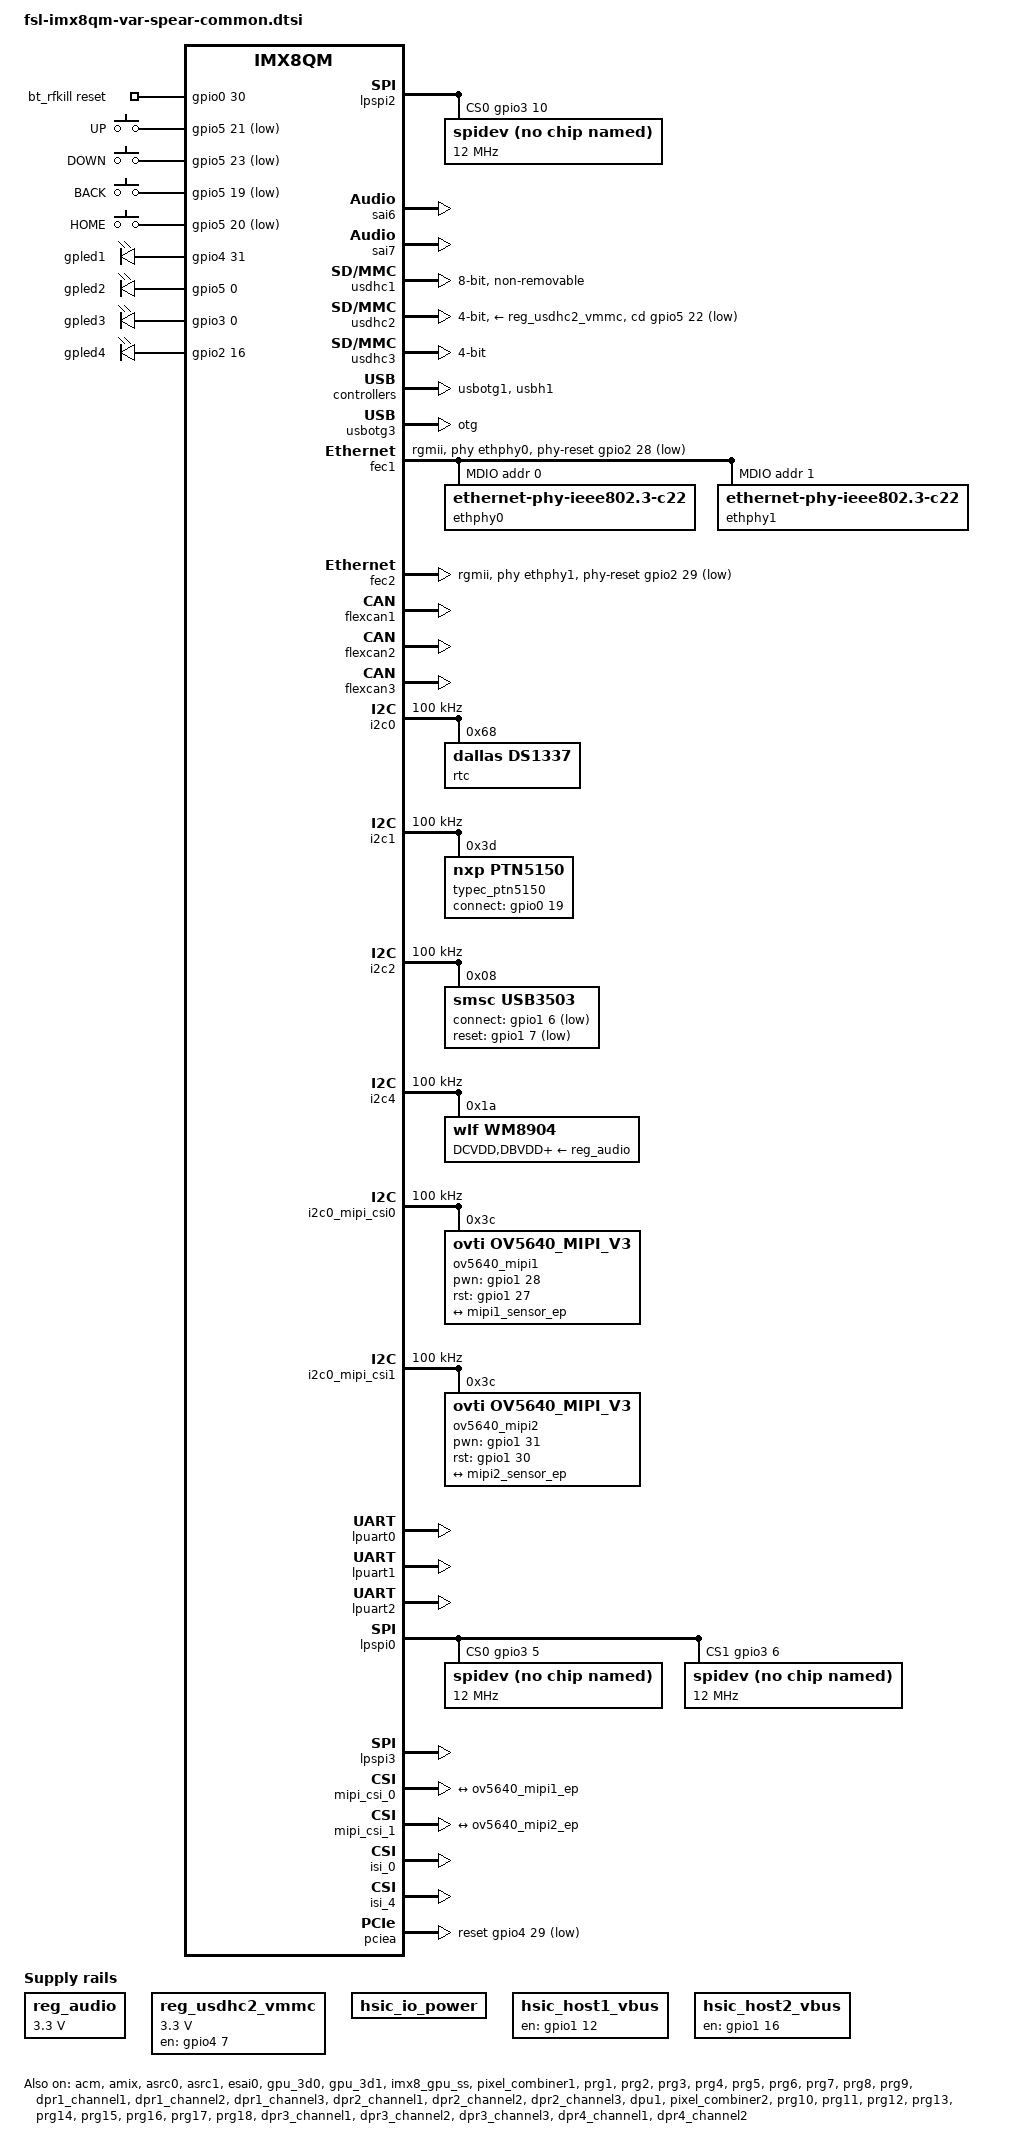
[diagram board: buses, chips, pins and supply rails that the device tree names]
/*
 * Copyright (C) 2016 Freescale Semiconductor, Inc.
 * Copyright 2017 NXP
 * Copyright 2019 Variscite Ltd.
 *
 * This program is free software; you can redistribute it and/or
 * modify it under the terms of the GNU General Public License
 * as published by the Free Software Foundation; either version 2
 * of the License, or (at your option) any later version.
 *
 * This program is distributed in the hope that it will be useful,
 * but WITHOUT ANY WARRANTY; without even the implied warranty of
 * MERCHANTABILITY or FITNESS FOR A PARTICULAR PURPOSE.  See the
 * GNU General Public License for more details.
 */

/dts-v1/;

#include "fsl-imx8qm.dtsi"

/ {
	firmware {
		android {
			compatible = "android,firmware";
			fstab {
				compatible = "android,fstab";
				vendor {
					compatible = "android,vendor";
					/* sd card node which used if androidboot.storage_type=sd */
					dev_sd = "/dev/block/platform/5b020000.usdhc/by-name/vendor";
					/* emmc node which used if androidboot.storage_type=emmc */
					dev_emmc = "/dev/block/platform/5b010000.usdhc/by-name/vendor";
					type = "ext4";
					mnt_flags = "ro,barrier=1,inode_readahead_blks=8";
					fsmgr_flags = "wait,slotselect,avb";
				};
			};
			vbmeta {
				/*we need use FirstStageMountVBootV2 if we enable avb*/
				compatible = "android,vbmeta";
				/*parts means the partition witch can be mount in first stage*/
				parts = "vbmeta,boot,system,vendor";
			};
		};
	};

	bt_rfkill {
		compatible = "net,rfkill-gpio";
		pinctrl-names = "default";
		pinctrl-0 = <&pinctrl_bt>;
		reset-gpios = <&gpio0 30 GPIO_ACTIVE_HIGH>;
		name = "bt_rfkill";
		type = "bluetooth";
		status = "okay";
	};

	reserved-memory {
		#address-cells = <2>;
		#size-cells = <2>;
		ranges;

		carveout_region: imx_ion@0 {
			compatible = "imx-ion-pool";
			reg = <0x0 0xf8000000 0 0x8000000>;
		};
	};
};

/ {
	compatible = "fsl,imx8qm-var-spear", "fsl,imx8qm";

	chosen {
		bootargs = "console=ttyLP0,115200 earlycon=lpuart32,0x5a060000,115200";
		stdout-path = &lpuart0;
	};

	aliases {
		gpio0 = &gpio0;
		gpio1 = &gpio1;
		gpio2 = &gpio2;
		gpio3 = &gpio3;
		gpio4 = &gpio4;
		gpio5 = &gpio5;
		gpio6 = &gpio6;
		gpio7 = &gpio7;
		i2c0  = &i2c0;
		i2c1  = &i2c1;
		i2c2  = &i2c2;
		i2c3  = &i2c3;
		i2c4  = &i2c4;
	};

	regulators: regulators {
		compatible = "simple-bus";
		#address-cells = <1>;
		#size-cells = <0>;

		reg_audio: audio {
			compatible = "regulator-fixed";
			regulator-name = "wm8904_supply";
			regulator-min-microvolt = <3300000>;
			regulator-max-microvolt = <3300000>;
			regulator-always-on;
		};

		reg_usdhc2_vmmc: usdhc2_vmmc {
			compatible = "regulator-fixed";
			regulator-name = "sw-3p3-sd1";
			regulator-min-microvolt = <3300000>;
			regulator-max-microvolt = <3300000>;
			gpio = <&gpio4 7 GPIO_ACTIVE_HIGH>;
			enable-active-high;
		};

		hsic_io_power: hsic_io_power {
			compatible = "regulator-fixed";
			regulator-name = "hsic_io_power";
			regulator-always-on;
		};

		hsic_host1_vbus: hsic_host1_vbus {
			compatible = "regulator-fixed";
			regulator-name = "hsic_host1_vbus";
			gpio = <&gpio1 12 GPIO_ACTIVE_HIGH>;
			enable-active-high;
			regulator-always-on;
		};

		hsic_host2_vbus: hsic_host2_vbus {
			compatible = "regulator-fixed";
			regulator-name = "hsic_host2_vbus";
			gpio = <&gpio1 16 GPIO_ACTIVE_HIGH>;
			enable-active-high;
			regulator-always-on;
		};
	};

	backlight_lvds0: backlight_lvds@0 {
		compatible = "pwm-backlight";
		pwms = <&lvds0_pwm 0 100000 0>;
		brightness-levels = < 0  1  2  3  4  5  6  7  8  9
				     10 11 12 13 14 15 16 17 18 19
				     20 21 22 23 24 25 26 27 28 29
				     30 31 32 33 34 35 36 37 38 39
				     40 41 42 43 44 45 46 47 48 49
				     50 51 52 53 54 55 56 57 58 59
				     60 61 62 63 64 65 66 67 68 69
				     70 71 72 73 74 75 76 77 78 79
				     80 81 82 83 84 85 86 87 88 89
				     90 91 92 93 94 95 96 97 98 99
				    100>;
		default-brightness-level = <80>;
		status = "disabled";
	};

	backlight_lvds1: backlight_lvds@1 {
		compatible = "pwm-backlight";
		pwms = <&lvds1_pwm 0 100000 0>;
		brightness-levels = < 0  1  2  3  4  5  6  7  8  9
				     10 11 12 13 14 15 16 17 18 19
				     20 21 22 23 24 25 26 27 28 29
				     30 31 32 33 34 35 36 37 38 39
				     40 41 42 43 44 45 46 47 48 49
				     50 51 52 53 54 55 56 57 58 59
				     60 61 62 63 64 65 66 67 68 69
				     70 71 72 73 74 75 76 77 78 79
				     80 81 82 83 84 85 86 87 88 89
				     90 91 92 93 94 95 96 97 98 99
				    100>;
		default-brightness-level = <80>;
		status = "disabled";
	};

	gpio-keys {
		compatible = "gpio-keys";
		pinctrl-names = "default";
		pinctrl-0 = <&pinctrl_gpio_keys>;

		up {
			label = "UP";
			gpios = <&gpio5 21 GPIO_ACTIVE_LOW>;
			linux,code = <KEY_UP>;
		};

		down {
			label = "DOWN";
			gpios = <&gpio5 23 GPIO_ACTIVE_LOW>;
			linux,code = <KEY_DOWN>;
		};

		back {
			label = "BACK";
			gpios = <&gpio5 19 GPIO_ACTIVE_LOW>;
			linux,code = <KEY_BACK>;
		};

		home {
			label = "HOME";
			gpios = <&gpio5 20 GPIO_ACTIVE_LOW>;
			linux,code = <KEY_HOME>;
		};
	};

	leds {
		compatible = "gpio-leds";
		pinctrl-names = "default";
		pinctrl-0 = <&pinctrl_gpio_leds>;

		gpled1 {
			label = "gpled1";
			gpios = <&gpio4 31 GPIO_ACTIVE_HIGH>;
			default-state = "on";
			linux,default-trigger = "heartbeat";
		};

		gpled2 {
			label = "gpled2";
			gpios = <&gpio5 0 GPIO_ACTIVE_HIGH>;
			default-state = "on";
			linux,default-trigger = "mmc0";
		};

		gpled3 {
			label = "gpled3";
			gpios = <&gpio3 0 GPIO_ACTIVE_HIGH>;
			default-state = "on";
			linux,default-trigger = "mmc1";
		};

		gpled4 {
			label = "gpled4";
			gpios = <&gpio2 16 GPIO_ACTIVE_HIGH>;
			default-state = "on";
			linux,default-trigger = "mmc1";
		};
	};

	sound-wm8904 {
		compatible = "fsl,imx-audio-wm8904";
		model = "imx-wm8904";
		audio-codec = <&wm8904>;
		audio-cpu = <&esai0>;
		audio-routing =
			"Headphone Jack", "HPOUTL",
			"Headphone Jack", "HPOUTR",
			"IN2L", "Line In Jack",
			"IN2R", "Line In Jack",
			"IN1L", "Mic Jack",
			"Playback", "CPU-Playback",
			"CPU-Capture", "Capture";
		status = "okay";
	};

	sound-amix-sai {
		compatible = "fsl,imx-audio-amix";
		model = "amix-audio-sai";
		dais = <&sai6>, <&sai7>;
		amix-controller = <&amix>;
	};

	lpspi2: lpspi@5a020000 {
		compatible = "fsl,imx7ulp-spi";
		reg = <0x0 0x5a020000 0x0 0x10000>;
		interrupts = <GIC_SPI 218 IRQ_TYPE_LEVEL_HIGH>;
		interrupt-parent = <&gic>;
		clocks = <&clk IMX8QM_SPI2_CLK>,
			 <&clk IMX8QM_SPI2_IPG_CLK>;
		clock-names = "per", "ipg";
		assigned-clocks = <&clk IMX8QM_SPI2_CLK>;
		assigned-clock-rates = <60000000>;
		power-domains = <&pd_dma0_chan5>;
		dma-names = "tx","rx";
		dmas = <&edma0 5 0 0>, <&edma0 4 0 1>;
		status = "disabled";
	};
};

&acm {
	status = "okay";
};

&amix {
	status = "okay";
};

&asrc0 {
	assigned-clocks = <&clk IMX8QM_AUD_PLL0_DIV>,
			<&clk IMX8QM_AUD_ACM_AUD_PLL_CLK0_DIV>,
			<&clk IMX8QM_AUD_ACM_AUD_REC_CLK0_DIV>;
	assigned-clock-rates = <786432000>, <49152000>, <24576000>;
	fsl,asrc-rate  = <48000>;
	status = "okay";
};

&asrc1 {
	assigned-clocks = <&clk IMX8QM_AUD_PLL0_DIV>,
			<&clk IMX8QM_AUD_ACM_AUD_PLL_CLK0_DIV>,
			<&clk IMX8QM_AUD_ACM_AUD_REC_CLK0_DIV>;
	assigned-clock-rates = <786432000>, <49152000>, <24576000>;
	fsl,asrc-rate = <48000>;
	status = "okay";
};

&esai0 {
	pinctrl-names = "default";
	pinctrl-0 = <&pinctrl_esai0>;
	assigned-clocks = <&clk IMX8QM_ACM_ESAI0_MCLK_SEL>,
			<&clk IMX8QM_AUD_PLL0_DIV>,
			<&clk IMX8QM_AUD_ACM_AUD_PLL_CLK0_DIV>,
			<&clk IMX8QM_AUD_ACM_AUD_REC_CLK0_DIV>,
			<&clk IMX8QM_AUD_ESAI_0_EXTAL_IPG>;
	assigned-clock-parents = <&clk IMX8QM_AUD_ACM_AUD_PLL_CLK0_CLK>;
	assigned-clock-rates = <0>, <786432000>, <49152000>, <24576000>, <49152000>;
	status = "okay";
};

&sai6 {
	assigned-clocks = <&clk IMX8QM_ACM_SAI6_MCLK_SEL>,
			<&clk IMX8QM_AUD_PLL1_DIV>,
			<&clk IMX8QM_AUD_ACM_AUD_PLL_CLK1_DIV>,
			<&clk IMX8QM_AUD_ACM_AUD_REC_CLK1_DIV>,
			<&clk IMX8QM_AUD_SAI_6_MCLK>;
	assigned-clock-parents = <&clk IMX8QM_AUD_ACM_AUD_PLL_CLK1_CLK>;
	assigned-clock-rates = <0>, <786432000>, <98304000>, <24576000>, <98304000>;
	fsl,sai-asynchronous;
	fsl,txm-rxs;
	status = "okay";
};

&sai7 {
	assigned-clocks = <&clk IMX8QM_ACM_SAI7_MCLK_SEL>,
			<&clk IMX8QM_AUD_PLL1_DIV>,
			<&clk IMX8QM_AUD_ACM_AUD_PLL_CLK1_DIV>,
			<&clk IMX8QM_AUD_ACM_AUD_REC_CLK1_DIV>,
			<&clk IMX8QM_AUD_SAI_7_MCLK>;
	assigned-clock-parents = <&clk IMX8QM_AUD_ACM_AUD_PLL_CLK1_CLK>;
	assigned-clock-rates = <0>, <786432000>, <98304000>, <24576000>, <98304000>;
	fsl,sai-asynchronous;
	fsl,txm-rxs;
	status = "okay";
};

&iomuxc {
	imx8qm_var_spear {

		pinctrl_esai0: esai0grp {
			fsl,pins = <
				SC_P_ESAI0_FSR_AUD_ESAI0_FSR			0xc600004c
				SC_P_ESAI0_FST_AUD_ESAI0_FST			0xc600004c
				SC_P_ESAI0_SCKR_AUD_ESAI0_SCKR			0xc600004c
				SC_P_ESAI0_SCKT_AUD_ESAI0_SCKT			0xc600004c
				SC_P_ESAI0_TX0_AUD_ESAI0_TX0			0xc600004c
				SC_P_ESAI0_TX5_RX0_AUD_ESAI0_TX5_RX0		0xc600004c
				SC_P_MCLK_OUT0_AUD_ESAI0_TX_HF_CLK		0xc600004c
			>;
		};

		pinctrl_fec1: fec1grp {
			fsl,pins = <
				SC_P_ENET0_MDC_CONN_ENET0_MDC			0x06000048
				SC_P_ENET0_MDIO_CONN_ENET0_MDIO			0x06000048
				SC_P_ENET0_RGMII_TX_CTL_CONN_ENET0_RGMII_TX_CTL	0x06000048
				SC_P_ENET0_RGMII_TXC_CONN_ENET0_RGMII_TXC	0x06000048
				SC_P_ENET0_RGMII_TXD0_CONN_ENET0_RGMII_TXD0	0x06000048
				SC_P_ENET0_RGMII_TXD1_CONN_ENET0_RGMII_TXD1	0x06000048
				SC_P_ENET0_RGMII_TXD2_CONN_ENET0_RGMII_TXD2	0x06000048
				SC_P_ENET0_RGMII_TXD3_CONN_ENET0_RGMII_TXD3	0x06000048
				SC_P_ENET0_RGMII_RXC_CONN_ENET0_RGMII_RXC	0x06000048
				SC_P_ENET0_RGMII_RX_CTL_CONN_ENET0_RGMII_RX_CTL	0x06000048
				SC_P_ENET0_RGMII_RXD0_CONN_ENET0_RGMII_RXD0	0x06000048
				SC_P_ENET0_RGMII_RXD1_CONN_ENET0_RGMII_RXD1	0x06000048
				SC_P_ENET0_RGMII_RXD2_CONN_ENET0_RGMII_RXD2	0x06000048
				SC_P_ENET0_RGMII_RXD3_CONN_ENET0_RGMII_RXD3	0x06000048
				SC_P_ESAI0_TX2_RX3_LSIO_GPIO2_IO28		0x06000048
			>;
		};

		pinctrl_fec2: fec2grp {
			fsl,pins = <
				SC_P_ENET1_RGMII_TX_CTL_CONN_ENET1_RGMII_TX_CTL	0x06000048
				SC_P_ENET1_RGMII_TXC_CONN_ENET1_RGMII_TXC	0x06000048
				SC_P_ENET1_RGMII_TXD0_CONN_ENET1_RGMII_TXD0	0x06000048
				SC_P_ENET1_RGMII_TXD1_CONN_ENET1_RGMII_TXD1	0x06000048
				SC_P_ENET1_RGMII_TXD2_CONN_ENET1_RGMII_TXD2	0x06000048
				SC_P_ENET1_RGMII_TXD3_CONN_ENET1_RGMII_TXD3	0x06000048
				SC_P_ENET1_RGMII_RXC_CONN_ENET1_RGMII_RXC	0x06000048
				SC_P_ENET1_RGMII_RX_CTL_CONN_ENET1_RGMII_RX_CTL	0x06000048
				SC_P_ENET1_RGMII_RXD0_CONN_ENET1_RGMII_RXD0	0x06000048
				SC_P_ENET1_RGMII_RXD1_CONN_ENET1_RGMII_RXD1	0x06000048
				SC_P_ENET1_RGMII_RXD2_CONN_ENET1_RGMII_RXD2	0x06000048
				SC_P_ENET1_RGMII_RXD3_CONN_ENET1_RGMII_RXD3	0x06000048
				SC_P_ESAI0_TX3_RX2_LSIO_GPIO2_IO29		0x06000048
			>;
		};

		pinctrl_lpi2c0: lpi2c0grp {
			fsl,pins = <
				SC_P_HDMI_TX0_TS_SCL_DMA_I2C0_SCL		0xc600004c
				SC_P_HDMI_TX0_TS_SDA_DMA_I2C0_SDA		0xc600004c
			>;
		};

		pinctrl_lpi2c1: lpi2c1grp {
			fsl,pins = <
				SC_P_USB_SS3_TC3_DMA_I2C1_SDA			0xc600004c
				SC_P_USB_SS3_TC1_DMA_I2C1_SCL			0xc600004c
			>;
		};

		pinctrl_lpi2c2: lpi2c2grp {
			fsl,pins = <
				SC_P_GPT1_CLK_DMA_I2C2_SCL			0xc600004c
				SC_P_GPT1_CAPTURE_DMA_I2C2_SDA			0xc600004c
			>;
		};

		pinctrl_lpi2c4: lpi2c4grp {
			fsl,pins = <
				SC_P_ENET1_MDC_DMA_I2C4_SCL			0xc600004c
				SC_P_ENET1_MDIO_DMA_I2C4_SDA			0xc600004c
			>;
		};

		pinctrl_usbotg1: usbotg1 {
			fsl,pins = <
				SC_P_USB_SS3_TC0_CONN_USB_OTG1_PWR		0x00000021
			>;
		};

		pinctrl_ptn5150: ptn5150grp {
			fsl,pins = <
				SC_P_GPT1_COMPARE_LSIO_GPIO0_IO19		0x00000021
			>;
		};

		pinctrl_lpuart0: lpuart0grp {
			fsl,pins = <
				SC_P_UART0_RX_DMA_UART0_RX			0x06000020
				SC_P_UART0_TX_DMA_UART0_TX			0x06000020
				SC_P_UART0_RTS_B_DMA_UART0_RTS_B		0x06000020
				SC_P_UART0_CTS_B_DMA_UART0_CTS_B		0x06000020
				SC_P_SCU_GPIO0_06_LSIO_GPIO1_IO02		0x06000020
			>;
		};

		pinctrl_lpuart1: lpuart1grp {
			fsl,pins = <
				SC_P_UART1_RX_DMA_UART1_RX			0x06000020
				SC_P_UART1_TX_DMA_UART1_TX			0x06000020
				SC_P_UART1_CTS_B_DMA_UART1_RTS_B		0x06000020
				SC_P_UART1_RTS_B_DMA_UART1_CTS_B		0x06000020
			>;
		};

		pinctrl_lpuart2: lpuart2grp {
			fsl,pins = <
				SC_P_LVDS0_I2C1_SDA_DMA_UART2_RX		0x06000020
				SC_P_LVDS0_I2C1_SCL_DMA_UART2_TX		0x06000020
			>;
		};

		pinctrl_mlb: mlbgrp {
			fsl,pins = <
				SC_P_MLB_SIG_CONN_MLB_SIG			0x00000021
				SC_P_MLB_CLK_CONN_MLB_CLK			0x00000021
				SC_P_MLB_DATA_CONN_MLB_DATA			0x00000021
			>;
		};

		pinctrl_usdhc1: usdhc1grp {
			fsl,pins = <
				SC_P_EMMC0_CLK_CONN_EMMC0_CLK			0x06000041
				SC_P_EMMC0_CMD_CONN_EMMC0_CMD			0x00000021
				SC_P_EMMC0_DATA0_CONN_EMMC0_DATA0		0x00000021
				SC_P_EMMC0_DATA1_CONN_EMMC0_DATA1		0x00000021
				SC_P_EMMC0_DATA2_CONN_EMMC0_DATA2		0x00000021
				SC_P_EMMC0_DATA3_CONN_EMMC0_DATA3		0x00000021
				SC_P_EMMC0_DATA4_CONN_EMMC0_DATA4		0x00000021
				SC_P_EMMC0_DATA5_CONN_EMMC0_DATA5		0x00000021
				SC_P_EMMC0_DATA6_CONN_EMMC0_DATA6		0x00000021
				SC_P_EMMC0_DATA7_CONN_EMMC0_DATA7		0x00000021
				SC_P_EMMC0_STROBE_CONN_EMMC0_STROBE		0x06000041
				SC_P_EMMC0_RESET_B_CONN_EMMC0_RESET_B		0x00000021
			>;
		};

		pinctrl_usdhc1_100mhz: usdhc1grp100mhz {
			fsl,pins = <
				SC_P_EMMC0_CLK_CONN_EMMC0_CLK			0x06000040
				SC_P_EMMC0_CMD_CONN_EMMC0_CMD			0x00000020
				SC_P_EMMC0_DATA0_CONN_EMMC0_DATA0		0x00000020
				SC_P_EMMC0_DATA1_CONN_EMMC0_DATA1		0x00000020
				SC_P_EMMC0_DATA2_CONN_EMMC0_DATA2		0x00000020
				SC_P_EMMC0_DATA3_CONN_EMMC0_DATA3		0x00000020
				SC_P_EMMC0_DATA4_CONN_EMMC0_DATA4		0x00000020
				SC_P_EMMC0_DATA5_CONN_EMMC0_DATA5		0x00000020
				SC_P_EMMC0_DATA6_CONN_EMMC0_DATA6		0x00000020
				SC_P_EMMC0_DATA7_CONN_EMMC0_DATA7		0x00000020
				SC_P_EMMC0_STROBE_CONN_EMMC0_STROBE		0x06000040
				SC_P_EMMC0_RESET_B_CONN_EMMC0_RESET_B		0x00000020
			>;
		};

		pinctrl_usdhc1_200mhz: usdhc1grp200mhz {
			fsl,pins = <
				SC_P_EMMC0_CLK_CONN_EMMC0_CLK			0x06000040
				SC_P_EMMC0_CMD_CONN_EMMC0_CMD			0x00000020
				SC_P_EMMC0_DATA0_CONN_EMMC0_DATA0		0x00000020
				SC_P_EMMC0_DATA1_CONN_EMMC0_DATA1		0x00000020
				SC_P_EMMC0_DATA2_CONN_EMMC0_DATA2		0x00000020
				SC_P_EMMC0_DATA3_CONN_EMMC0_DATA3		0x00000020
				SC_P_EMMC0_DATA4_CONN_EMMC0_DATA4		0x00000020
				SC_P_EMMC0_DATA5_CONN_EMMC0_DATA5		0x00000020
				SC_P_EMMC0_DATA6_CONN_EMMC0_DATA6		0x00000020
				SC_P_EMMC0_DATA7_CONN_EMMC0_DATA7		0x00000020
				SC_P_EMMC0_STROBE_CONN_EMMC0_STROBE		0x06000040
				SC_P_EMMC0_RESET_B_CONN_EMMC0_RESET_B		0x00000020
			>;
		};

		pinctrl_usdhc2_gpio: usdhc2grpgpio {
			fsl,pins = <
				SC_P_USDHC1_DATA7_LSIO_GPIO5_IO22		0x00000021
				SC_P_USDHC1_RESET_B_LSIO_GPIO4_IO07		0x00000021
			>;
		};

		pinctrl_usdhc2: usdhc2grp {
			fsl,pins = <
				SC_P_USDHC1_CLK_CONN_USDHC1_CLK			0x06000041
				SC_P_USDHC1_CMD_CONN_USDHC1_CMD			0x00000021
				SC_P_USDHC1_DATA0_CONN_USDHC1_DATA0		0x00000021
				SC_P_USDHC1_DATA1_CONN_USDHC1_DATA1		0x00000021
				SC_P_USDHC1_DATA2_CONN_USDHC1_DATA2		0x00000021
				SC_P_USDHC1_DATA3_CONN_USDHC1_DATA3		0x00000021
				SC_P_USDHC1_VSELECT_CONN_USDHC1_VSELECT		0x00000021
			>;
		};

		pinctrl_usdhc2_100mhz: usdhc2grp100mhz {
			fsl,pins = <
				SC_P_USDHC1_CLK_CONN_USDHC1_CLK			0x06000040
				SC_P_USDHC1_CMD_CONN_USDHC1_CMD			0x00000020
				SC_P_USDHC1_DATA0_CONN_USDHC1_DATA0		0x00000020
				SC_P_USDHC1_DATA1_CONN_USDHC1_DATA1		0x00000020
				SC_P_USDHC1_DATA2_CONN_USDHC1_DATA2		0x00000020
				SC_P_USDHC1_DATA3_CONN_USDHC1_DATA3		0x00000020
				SC_P_USDHC1_VSELECT_CONN_USDHC1_VSELECT		0x00000020
			>;
		};

		pinctrl_usdhc2_200mhz: usdhc2grp200mhz {
			fsl,pins = <
				SC_P_USDHC1_CLK_CONN_USDHC1_CLK			0x06000040
				SC_P_USDHC1_CMD_CONN_USDHC1_CMD			0x00000020
				SC_P_USDHC1_DATA0_CONN_USDHC1_DATA0		0x00000020
				SC_P_USDHC1_DATA1_CONN_USDHC1_DATA1		0x00000020
				SC_P_USDHC1_DATA2_CONN_USDHC1_DATA2		0x00000020
				SC_P_USDHC1_DATA3_CONN_USDHC1_DATA3		0x00000020
				SC_P_USDHC1_VSELECT_CONN_USDHC1_VSELECT		0x00000020
			>;
		};

		pinctrl_usdhc3: usdhc3grp {
			fsl,pins = <
				SC_P_USDHC2_CLK_CONN_USDHC2_CLK			0x06000041
				SC_P_USDHC2_CMD_CONN_USDHC2_CMD			0x00000021
				SC_P_USDHC2_DATA0_CONN_USDHC2_DATA0		0x00000021
				SC_P_USDHC2_DATA1_CONN_USDHC2_DATA1		0x00000021
				SC_P_USDHC2_DATA2_CONN_USDHC2_DATA2		0x00000021
				SC_P_USDHC2_DATA3_CONN_USDHC2_DATA3		0x00000021
			>;
		};

		pinctrl_usdhc3_100mhz: usdhc3grp100mhz {
			fsl,pins = <
				SC_P_USDHC2_CLK_CONN_USDHC2_CLK			0x06000040
				SC_P_USDHC2_CMD_CONN_USDHC2_CMD			0x00000020
				SC_P_USDHC2_DATA0_CONN_USDHC2_DATA0		0x00000020
				SC_P_USDHC2_DATA1_CONN_USDHC2_DATA1		0x00000020
				SC_P_USDHC2_DATA2_CONN_USDHC2_DATA2		0x00000020
				SC_P_USDHC2_DATA3_CONN_USDHC2_DATA3		0x00000020
			>;
		};

		pinctrl_usdhc3_200mhz: usdhc3grp200mhz {
			fsl,pins = <
				SC_P_USDHC2_CLK_CONN_USDHC2_CLK			0x06000040
				SC_P_USDHC2_CMD_CONN_USDHC2_CMD			0x00000020
				SC_P_USDHC2_DATA0_CONN_USDHC2_DATA0		0x00000020
				SC_P_USDHC2_DATA1_CONN_USDHC2_DATA1		0x00000020
				SC_P_USDHC2_DATA2_CONN_USDHC2_DATA2		0x00000020
				SC_P_USDHC2_DATA3_CONN_USDHC2_DATA3		0x00000020
			>;
		};

		pinctrl_flexcan1: flexcan0grp {
			fsl,pins = <
				SC_P_FLEXCAN0_TX_DMA_FLEXCAN0_TX		0x00000021
				SC_P_FLEXCAN0_RX_DMA_FLEXCAN0_RX		0x00000021
			>;
		};

		pinctrl_flexcan2: flexcan1grp {
			fsl,pins = <
				SC_P_FLEXCAN1_TX_DMA_FLEXCAN1_TX		0x00000021
				SC_P_FLEXCAN1_RX_DMA_FLEXCAN1_RX		0x00000021
			>;
		};

		pinctrl_flexcan3: flexcan2grp {
			fsl,pins = <
				SC_P_FLEXCAN2_TX_DMA_FLEXCAN2_TX		0x00000021
				SC_P_FLEXCAN2_RX_DMA_FLEXCAN2_RX		0x00000021
			>;
		};

		pinctrl_pciea: pcieagrp {
			fsl,pins = <
				SC_P_PCIE_CTRL0_WAKE_B_LSIO_GPIO4_IO28		0x00000021
				SC_P_PCIE_CTRL0_PERST_B_LSIO_GPIO4_IO29		0x00000021
			>;
		};

		pinctrl_captouch: captouchgrp {
			fsl,pins = <
				SC_P_LVDS1_GPIO01_LSIO_GPIO1_IO11		0x00000021
				SC_P_LVDS0_GPIO01_LSIO_GPIO1_IO05		0x00000021
			>;
		};

		pinctrl_lvds0_pwm: lvds0pwmgrp {
			fsl,pins = <
				SC_P_LVDS0_GPIO00_LVDS0_PWM0_OUT		0x00000020
			>;
		};

		pinctrl_lvds1_pwm: lvds1pwmgrp {
			fsl,pins = <
				SC_P_LVDS1_GPIO00_LSIO_GPIO1_IO10		0x00000020
			>;
		};

		pinctrl_mipicsi0: mipicsi0grp {
			fsl,pins = <
				SC_P_MIPI_CSI0_GPIO0_01_LSIO_GPIO1_IO28		0x06000048
				SC_P_MIPI_CSI0_GPIO0_00_LSIO_GPIO1_IO27		0x06000048
			>;
		};

		pinctrl_mipicsi1: mipicsi1grp {
			fsl,pins = <
				SC_P_MIPI_CSI1_GPIO0_00_LSIO_GPIO1_IO30		0x06000048
				SC_P_MIPI_CSI1_GPIO0_01_LSIO_GPIO1_IO31		0x06000048
			>;
		};

		pinctrl_wifi: wifigrp {
			fsl,pins = <
				SC_P_SCU_GPIO0_07_SCU_DSC_RTC_CLOCK_OUTPUT_32K	0xc600004c /* WIFI_32K_CLK   */
				SC_P_SCU_GPIO0_03_LSIO_GPIO0_IO31		0x06000021 /* WIFI_REG_ON    */
			>;
		};

		pinctrl_bt: btgrp {
			fsl,pins = <
				SC_P_SCU_GPIO0_02_LSIO_GPIO0_IO30		0x00000021 /* BT_REG_ON      */
				SC_P_QSPI1A_DATA0_LSIO_GPIO4_IO26		0x00000021 /* BT_BUF         */
				SC_P_M40_GPIO0_00_LSIO_GPIO0_IO08		0x00000021 /* RS-422 control */
			>;
		};

		pinctrl_lpspi0: lpspi0grp {
			fsl,pins = <
				SC_P_SPI0_SCK_DMA_SPI0_SCK			0x0600004c
				SC_P_SPI0_SDO_DMA_SPI0_SDO			0x0600004c
				SC_P_SPI0_SDI_DMA_SPI0_SDI			0x0600004c
			>;
		};

		pinctrl_lpspi0_cs: lpspics0grp {
			fsl,pins = <
				SC_P_SPI0_CS0_LSIO_GPIO3_IO05			0x00000021
				SC_P_SPI0_CS1_LSIO_GPIO3_IO06			0x00000021
			>;
		};

		pinctrl_lpspi2: lpspi2grp {
			fsl,pins = <
				SC_P_SPI2_SCK_DMA_SPI2_SCK			0x0600004c
				SC_P_SPI2_SDO_DMA_SPI2_SDO			0x0600004c
				SC_P_SPI2_SDI_DMA_SPI2_SDI			0x0600004c
			>;
		};

		pinctrl_lpspi2_cs: lpspics2grp {
			fsl,pins = <
				SC_P_SPI2_CS0_LSIO_GPIO3_IO10			0x00000021
			>;
		};

		pinctrl_lpspi3: lpspi3grp {
			fsl,pins = <
				SC_P_SPI3_SCK_DMA_SPI3_SCK			0x0600004c
				SC_P_SPI3_SDO_DMA_SPI3_SDO			0x0600004c
				SC_P_SPI3_SDI_DMA_SPI3_SDI			0x0600004c
			>;
		};

		pinctrl_lpspi3_cs: lpspics3grp {
			fsl,pins = <
				SC_P_SPI3_CS0_LSIO_GPIO2_IO20			0x00000021
			>;
		};

		pinctrl_restouch: restouchgrp {
			fsl,pins = <
				SC_P_SPI3_CS1_LSIO_GPIO2_IO21			0x00000021
			>;
		};

		pinctrl_hdmi_i2c: hdmii2cgrp {
			fsl,pins = <
				SC_P_PCIE_CTRL0_CLKREQ_B_LSIO_GPIO4_IO27	0x00000021
			>;
		};

		pinctrl_usb_hsic_idle: usbhsic_idle {
			fsl,pins = <
				SC_P_LVDS0_I2C0_SCL_LSIO_GPIO1_IO06		0x00000021
				SC_P_LVDS0_I2C0_SDA_LSIO_GPIO1_IO07		0x00000021
				SC_P_LVDS1_I2C0_SCL_LSIO_GPIO1_IO12		0x00000021
				SC_P_MIPI_DSI0_I2C0_SCL_LSIO_GPIO1_IO16		0x00000021
				SC_P_USB_HSIC0_DATA_CONN_USB_HSIC0_DATA		0xc60000c5
				SC_P_USB_HSIC0_STROBE_CONN_USB_HSIC0_STROBE	0xc60000c5
			>;
		};

		pinctrl_usb_hsic_active: usbsic_active {
			fsl,pins = <
				SC_P_LVDS0_I2C0_SCL_LSIO_GPIO1_IO06		0x00000021
				SC_P_LVDS0_I2C0_SDA_LSIO_GPIO1_IO07		0x00000021
				SC_P_LVDS1_I2C0_SCL_LSIO_GPIO1_IO12		0x00000021
				SC_P_MIPI_DSI0_I2C0_SCL_LSIO_GPIO1_IO16		0x00000021
				SC_P_USB_HSIC0_DATA_CONN_USB_HSIC0_DATA		0xc60000c5
				SC_P_USB_HSIC0_STROBE_CONN_USB_HSIC0_STROBE	0xc60000d5
			>;
		};

		pinctrl_gpio_leds: gpioledsgrp {
			fsl,pins = <
				SC_P_PCIE_CTRL1_WAKE_B_LSIO_GPIO4_IO31		0x00000021
				SC_P_PCIE_CTRL1_PERST_B_LSIO_GPIO5_IO00		0x00000021
				SC_P_MCLK_IN0_LSIO_GPIO3_IO00			0x00000021
				SC_P_SPDIF0_EXT_CLK_LSIO_GPIO2_IO16		0x00000021
			>;
		};

		pinctrl_gpio_keys: gpiokeysgrp {
			fsl,pins = <
				SC_P_USDHC1_DATA4_LSIO_GPIO5_IO19		0x00000021
				SC_P_USDHC1_DATA5_LSIO_GPIO5_IO20		0x00000021
				SC_P_USDHC1_DATA6_LSIO_GPIO5_IO21		0x00000021
				SC_P_USDHC1_STROBE_LSIO_GPIO5_IO23		0x00000021
			>;
		};
	};
};

&lvds0_pwm {
	pinctrl-names = "default";
	pinctrl-0 = <&pinctrl_lvds0_pwm>;
	status = "disabled";
};

&lvds1_pwm {
	pinctrl-names = "default";
	pinctrl-0 = <&pinctrl_lvds1_pwm>;
	status = "disabled";
};

&usdhc1 {
	pinctrl-names = "default", "state_100mhz", "state_200mhz";
	pinctrl-0 = <&pinctrl_usdhc1>;
	pinctrl-1 = <&pinctrl_usdhc1_100mhz>;
	pinctrl-2 = <&pinctrl_usdhc1_200mhz>;
	bus-width = <8>;
	non-removable;
	status = "okay";
};

&usdhc2 {
	pinctrl-names = "default", "state_100mhz", "state_200mhz";
	pinctrl-0 = <&pinctrl_usdhc2>, <&pinctrl_usdhc2_gpio>;
	pinctrl-1 = <&pinctrl_usdhc2_100mhz>, <&pinctrl_usdhc2_gpio>;
	pinctrl-2 = <&pinctrl_usdhc2_200mhz>, <&pinctrl_usdhc2_gpio>;
	bus-width = <4>;
	cd-gpios = <&gpio5 22 GPIO_ACTIVE_LOW>;
	vmmc-supply = <&reg_usdhc2_vmmc>;
	status = "okay";
};

&usdhc3 {
	pinctrl-names = "default", "state_100mhz", "state_200mhz";
	pinctrl-0 = <&pinctrl_usdhc3>, <&pinctrl_wifi>;
	pinctrl-1 = <&pinctrl_usdhc3_100mhz>, <&pinctrl_wifi>;
	pinctrl-2 = <&pinctrl_usdhc3_200mhz>, <&pinctrl_wifi>;
	keep-power-in-suspend;
	bus-width = <4>;
	status = "okay";
};

&usbotg1 {
	pinctrl-names = "default";
	pinctrl-0 = <&pinctrl_usbotg1>;
	srp-disable;
	hnp-disable;
	adp-disable;
	ci-disable-lpm;
	power-polarity-active-high;
	disable-over-current;
	status = "okay";
};

&usbotg3 {
	dr_mode = "otg";
	extcon = <&typec_ptn5150>;
	status = "okay";
};

&usbh1 {
	pinctrl-names = "idle", "active";
	pinctrl-0 = <&pinctrl_usb_hsic_idle>;
	pinctrl-1 = <&pinctrl_usb_hsic_active>;
	srp-disable;
	hnp-disable;
	adp-disable;
	disable-over-current;
	status = "okay";
};

&fec1 {
	pinctrl-names = "default";
	pinctrl-0 = <&pinctrl_fec1>;
	fsl,magic-packet;
	phy-reset-gpios = <&gpio2 28 GPIO_ACTIVE_LOW>;
	phy-mode = "rgmii";
	phy-handle = <&ethphy0>;
	phy-reset-duration = <10>;
	phy-reset-post-delay = <20>;
	status = "okay";

	mdio {
		#address-cells = <1>;
		#size-cells = <0>;

		ethphy0: ethernet-phy@0 {
			compatible = "ethernet-phy-ieee802.3-c22";
			at803x,vddio-1p8v;
			at803x,eee-disabled;
			reg = <0>;
		};

		ethphy1: ethernet-phy@1 {
			compatible = "ethernet-phy-ieee802.3-c22";
			at803x,vddio-1p8v;
			at803x,eee-disabled;
			reg = <1>;
		};
	};
};

&fec2 {
	pinctrl-names = "default";
	pinctrl-0 = <&pinctrl_fec2>;
	phy-mode = "rgmii";
	phy-handle = <&ethphy1>;
	phy-reset-gpios = <&gpio2 29 GPIO_ACTIVE_LOW>;
	phy-reset-duration = <10>;
	phy-reset-post-delay = <20>;
	fsl,magic-packet;
	status = "okay";
};

&flexcan1 {
	pinctrl-names = "default";
	pinctrl-0 = <&pinctrl_flexcan1>;
	status = "okay";
};

&flexcan2 {
	pinctrl-names = "default";
	pinctrl-0 = <&pinctrl_flexcan2>;
	status = "okay";
};

&flexcan3 {
	pinctrl-names = "default";
	pinctrl-0 = <&pinctrl_flexcan3>;
	status = "okay";
};

&flexspi0 {
	status = "disabled";
};

&i2c0 {
	#address-cells = <1>;
	#size-cells = <0>;
	pinctrl-names = "default";
	pinctrl-0 = <&pinctrl_lpi2c0>;
	clock-frequency = <100000>;
	status = "okay";

	captouch: ft5x06_ts@38 {
		pinctrl-names = "default";
		pinctrl-0 = <&pinctrl_captouch>;
		compatible = "edt,edt-ft5x06";
		reg = <0x38>;
		interrupt-parent = <&gpio1>;
		interrupts = <5 IRQ_TYPE_EDGE_FALLING>;
		reset-gpios = <&gpio1 11 GPIO_ACTIVE_LOW>;
		touchscreen-size-x = <800>;
		touchscreen-size-y = <480>;
		touchscreen-inverted-x;
		touchscreen-inverted-y;
		status = "disabled";
	};

	/* DS1337 RTC module */
	rtc@0x68 {
		compatible = "dallas,ds1337";
		reg = <0x68>;
		status = "okay";
	};
};

&i2c1 {
	#address-cells = <1>;
	#size-cells = <0>;
	clock-frequency = <100000>;
	pinctrl-names = "default";
	pinctrl-0 = <&pinctrl_lpi2c1>;
	status = "okay";

	typec_ptn5150: typec@3d {
		compatible = "nxp,ptn5150";
		pinctrl-names = "default";
		pinctrl-0 = <&pinctrl_ptn5150>;
		reg = <0x3d>;
		connect-gpios = <&gpio0 19 GPIO_ACTIVE_HIGH>;
	};
};

&i2c2 {
	#address-cells = <1>;
	#size-cells = <0>;
	clock-frequency = <100000>;
	pinctrl-names = "default";
	pinctrl-0 = <&pinctrl_lpi2c2>;
	status = "okay";

	usb3503@08 {
		compatible = "smsc,usb3503";
		reg = <0x08>;
		connect-gpios = <&gpio1 6 GPIO_ACTIVE_LOW>;
		reset-gpios = <&gpio1 7 GPIO_ACTIVE_LOW>;
		initial-mode = <1>;
	};

};

&i2c4 {
	#address-cells = <1>;
	#size-cells = <0>;
	clock-frequency = <100000>;
	pinctrl-names = "default";
	pinctrl-0 = <&pinctrl_lpi2c4>;
	status = "okay";

	wm8904: codec@1a {
		compatible = "wlf,wm8904";
		reg = <0x1a>;
		clocks = <&clk IMX8QM_AUD_MCLKOUT0>;
		clock-names = "mclk";
		power-domains = <&pd_mclk_out0>;
		DCVDD-supply = <&reg_audio>;
		DBVDD-supply = <&reg_audio>;
		AVDD-supply = <&reg_audio>;
		CPVDD-supply = <&reg_audio>;
		MICVDD-supply = <&reg_audio>;
		gpio-cfg = <
			0x0018 /* GPIO1 => DMIC_CLK */
			0xffff /* GPIO2 => don't touch */
			0xffff /* GPIO3 => don't touch */
			0xffff /* GPIO4 => don't touch */
		>;
		status = "okay";
	};
};

&i2c0_mipi_csi0 {
	#address-cells = <1>;
	#size-cells = <0>;
	pinctrl-names = "default";
	clock-frequency = <100000>;
	status = "okay";

	ov5640_mipi1: ov5640_mipi1@3c {
		status = "okay";
		compatible = "ovti,ov5640_mipi_v3";
		reg = <0x3c>;
		pinctrl-names = "default";
		pinctrl-0 = <&pinctrl_mipicsi0>;
		clocks = <&clk IMX8QM_CLK_DUMMY>;
		clock-names = "csi_mclk";
		csi_id = <0>;
		pwn-gpios = <&gpio1 28 GPIO_ACTIVE_HIGH>;
		rst-gpios = <&gpio1 27 GPIO_ACTIVE_HIGH>;
		mclk = <24000000>;
		mclk_source = <0>;
		mipi_csi;

		port {
			ov5640_mipi1_ep: endpoint {
				remote-endpoint = <&mipi1_sensor_ep>;
			};
		};
	};
};

&i2c0_mipi_csi1 {
	#address-cells = <1>;
	#size-cells = <0>;
	pinctrl-names = "default";
	clock-frequency = <100000>;
	status = "okay";

	ov5640_mipi2: ov5640_mipi2@3c {
		status = "okay";
		compatible = "ovti,ov5640_mipi_v3";
		reg = <0x3c>;
		pinctrl-names = "default";
		pinctrl-0 = <&pinctrl_mipicsi1>;
		clocks = <&clk IMX8QM_CLK_DUMMY>;
		clock-names = "csi_mclk";
		csi_id = <1>;
		pwn-gpios = <&gpio1 31 GPIO_ACTIVE_HIGH>;
		rst-gpios = <&gpio1 30 GPIO_ACTIVE_HIGH>;
		mclk = <24000000>;
		mclk_source = <0>;
		mipi_csi;

		port {
			ov5640_mipi2_ep: endpoint {
				remote-endpoint = <&mipi2_sensor_ep>;
			};
		};
	};
};

&pd_dma_lpuart0 {
	debug_console;
};

&lpuart0 { /* console */
	pinctrl-names = "default";
	pinctrl-0 = <&pinctrl_lpuart0>;
	status = "okay";
};


&lpuart1 { /* BT */
	pinctrl-names = "default";
	pinctrl-0 = <&pinctrl_lpuart1>;
	uart-has-rtscts;
	status = "okay";
};

&lpuart2 { /* Header */
	pinctrl-names = "default";
	pinctrl-0 = <&pinctrl_lpuart2>;
	status = "okay";
};

&lpspi0 {
	#address-cells = <1>;
	#size-cells = <0>;
	fsl,spi-num-chipselects = <2>;
	pinctrl-names = "default";
	pinctrl-0 = <&pinctrl_lpspi0 &pinctrl_lpspi0_cs>;
	cs-gpios = <&gpio3 5 0>,
		   <&gpio3 6 0>;
	status = "okay";

	spidev@0 {
		compatible = "spidev";
		spi-max-frequency = <12000000>;
		reg = <0>;
		status = "okay";
	};

	spidev@1 {
		compatible = "spidev";
		spi-max-frequency = <12000000>;
		reg = <1>;
		status = "okay";
	};
};

&pd_dma_lpspi2 {
	#address-cells = <1>;
	#size-cells = <0>;
	wakeup-irq = <250>;

	pd_dma0_chan4: PD_LPSPI2_RX {
		reg = <SC_R_DMA_0_CH4>;
		power-domains =<&pd_dma_lpspi2>;
		#power-domain-cells = <0>;
		#address-cells = <1>;
		#size-cells = <0>;

		pd_dma0_chan5: PD_LPSPI2_TX {
			reg = <SC_R_DMA_0_CH5>;
			power-domains =<&pd_dma0_chan4>;
			#power-domain-cells = <0>;
			#address-cells = <1>;
			#size-cells = <0>;
		};
	};
};

&lpspi2 {
	#address-cells = <1>;
	#size-cells = <0>;
	fsl,spi-num-chipselects = <1>;
	pinctrl-names = "default";
	pinctrl-0 = <&pinctrl_lpspi2 &pinctrl_lpspi2_cs>;
	cs-gpios = <&gpio3 10 0>;
	status = "okay";

	spidev@0 {
		compatible = "spidev";
		spi-max-frequency = <12000000>;
		reg = <0>;
		status = "okay";
	};
};

&lpspi3 {
	#address-cells = <1>;
	#size-cells = <0>;
	fsl,spi-num-chipselects = <1>;
	pinctrl-names = "default";
	pinctrl-0 = <&pinctrl_lpspi3 &pinctrl_lpspi3_cs>;
	cs-gpios = <&gpio2 20 0>;
	status = "okay";

	/* Resistive touch */
	ads7846@0 {
		reg = <0>;
		compatible = "ti,ads7846";
		pinctrl-names = "default";
		pinctrl-0 = <&pinctrl_restouch>;
		interrupt-parent = <&gpio2>;
		interrupts = <21 0>;
		spi-max-frequency = <1500000>;
		pendown-gpio = <&gpio2 21 0>;
		ti,x-min = /bits/ 16 <125>;
		ti,x-max = /bits/ 16 <4008>;
		ti,y-min = /bits/ 16 <282>;
		ti,y-max = /bits/ 16 <3864>;
		ti,x-plate-ohms = /bits/ 16 <180>;
		ti,pressure-max = /bits/ 16 <255>;
		ti,debounce-max = /bits/ 16 <10>;
		ti,debounce-tol = /bits/ 16 <3>;
		ti,debounce-rep = /bits/ 16 <1>;
		ti,settle-delay-usec = /bits/ 16 <150>;
		ti,keep-vref-on;
		wakeup-source;
		status = "disabled";
	};
};

&mipi_csi_0 {
	#address-cells = <1>;
	#size-cells = <0>;
	status = "okay";

	port@0 {
		reg = <0>;
		mipi1_sensor_ep: endpoint1 {
			remote-endpoint = <&ov5640_mipi1_ep>;
			data-lanes = <1 2>;
		};
	};
};

&mipi_csi_1 {
	#address-cells = <1>;
	#size-cells = <0>;
	status = "okay";

	port@1 {
		reg = <1>;
		mipi2_sensor_ep: endpoint1 {
			remote-endpoint = <&ov5640_mipi2_ep>;
			data-lanes = <1 2>;
		};
	};
};

&mlb {
	status = "disabled";
};

&isi_0 {
	status = "okay";
};

&isi_4 {
	status = "okay";
};

&isi_1 {
	status = "disabled";
};

&isi_2 {
	status = "disabled";
};

&isi_3 {
	status = "disabled";
};

&isi_5 {
	status = "disabled";
};

&isi_6 {
	status = "disabled";
};

&isi_7 {
	status = "disabled";
};

&gpu_3d0 {
	status = "okay";
};

&gpu_3d1 {
	status = "okay";
};

&imx8_gpu_ss {
	status = "okay";
};

&pixel_combiner1 {
	status = "okay";
};

&prg1 {
	status = "okay";
};

&prg2 {
	status = "okay";
};

&prg3 {
	status = "okay";
};

&prg4 {
	status = "okay";
};

&prg5 {
	status = "okay";
};

&prg6 {
	status = "okay";
};

&prg7 {
	status = "okay";
};

&prg8 {
	status = "okay";
};

&prg9 {
	status = "okay";
};

&dpr1_channel1 {
	status = "okay";
};

&dpr1_channel2 {
	status = "okay";
};

&dpr1_channel3 {
	status = "okay";
};

&dpr2_channel1 {
	status = "okay";
};

&dpr2_channel2 {
	status = "okay";
};

&dpr2_channel3 {
	status = "okay";
};

&dpu1 {
	status = "okay";
};

&pixel_combiner2 {
	status = "okay";
};

&prg10 {
	status = "okay";
};

&prg11 {
	status = "okay";
};

&prg12 {
	status = "okay";
};

&prg13 {
	status = "okay";
};

&prg14 {
	status = "okay";
};

&prg15 {
	status = "okay";
};

&prg16 {
	status = "okay";
};

&prg17 {
	status = "okay";
};

&prg18 {
	status = "okay";
};

&dpr3_channel1 {
	status = "okay";
};

&dpr3_channel2 {
	status = "okay";
};

&dpr3_channel3 {
	status = "okay";
};

&dpr4_channel1 {
	status = "okay";
};

&dpr4_channel2 {
	status = "okay";
};

&dpr4_channel3 {
	status = "okay";
};

&dpu2 {
	status = "okay";
};

&pciea {
	ext_osc = <1>;
	pinctrl-names = "default";
	pinctrl-0 = <&pinctrl_pciea>;
	reset-gpio = <&gpio4 29 GPIO_ACTIVE_LOW>;
	status = "okay";
};

&pcieb {
	status = "disabled";
};

&sata{
	status = "disabled";
};

&intmux_cm40 {
	status = "okay";
};

&rpmsg {
	/*
	 * 64K for one rpmsg instance:
	 */
	vdev-nums = <1>;
	reg = <0x0 0x90000000 0x0 0x10000>;
	status = "okay";
};

&intmux_cm41 {
	status = "okay";
};

&rpmsg1 {
	/*
	 * 64K for one rpmsg instance:
	 */
	vdev-nums = <1>;
	reg = <0x0 0x90100000 0x0 0x10000>;
	status = "okay";
};

&wdog {
	status = "okay";
};

&vpu_decoder {
	core_type = <2>;
	status = "okay";
};

&vpu_encoder {
	core_type = <2>;
	status = "okay";
};

&rtc {
	status = "disabled";
};

&crypto {
	status = "disabled";
};
